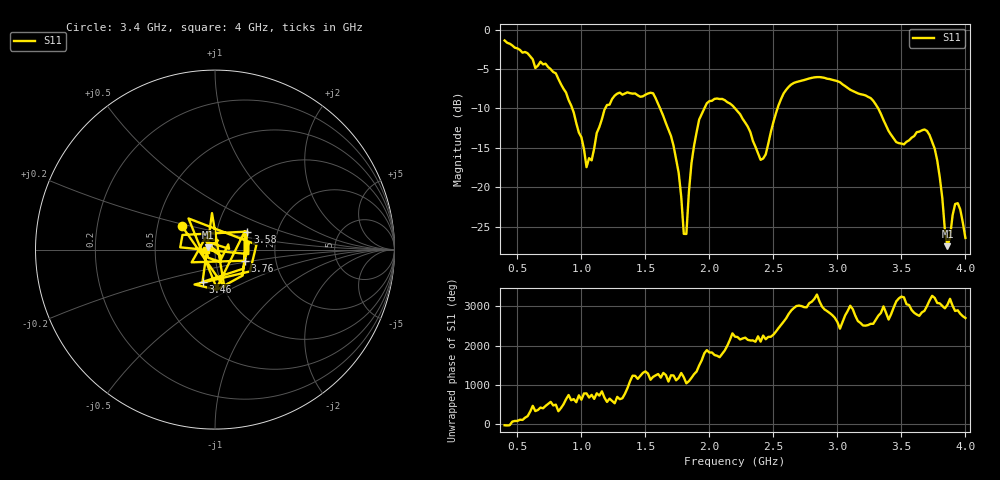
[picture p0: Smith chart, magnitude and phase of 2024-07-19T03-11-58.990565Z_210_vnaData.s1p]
!Created with skrf (http://scikit-rf.org).
# Hz S RI R 50.0
!freq ReS11 ImS11
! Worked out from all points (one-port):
!   181 points, 400 MHz to 4 GHz, reference 50 ohm
!   lowest |S11| = -27.5 dB at 3.86 GHz (marker M1), VSWR 1.09, Z = 46.1 + j1.14 ohm
!   |S11| at or under -10 dB: 1.615 GHz to 1.96 GHz (345.5 MHz wide, 19.3 % of centre); 2.201 GHz to 2.532 GHz (330.8 MHz wide, 14 % of centre); 3.319 GHz to end of sweep (the widest 3 of 4)
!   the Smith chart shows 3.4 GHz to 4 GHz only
!   S11 on the Smith chart (normalised r, x): 3.4 GHz: 0.67, +0.19; 3.46 GHz: 0.82, -0.31; 3.58 GHz: 1.40, +0.29; 3.76 GHz: 1.38, -0.18; 4 GHz: 0.91, -0.01
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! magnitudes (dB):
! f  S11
! 400 MHz  -1.4
! 860 MHz  -7.5
! 1.04 GHz  -17.4
! 1.18 GHz  -10.2
! 1.3 GHz  -8.0
! 1.56 GHz  -8.1
! 1.7 GHz  -13.5
! 1.76 GHz  -18.2
! 1.8 GHz  -25.9
! 1.82 GHz  -25.9
! 1.86 GHz  -16.9
! 1.92 GHz  -11.4
! 2.04 GHz  -8.8
! 2.2 GHz  -10.0
! 2.4 GHz  -16.5
! 2.56 GHz  -8.8
! 2.66 GHz  -6.8
! 3.1 GHz  -7.6
! 3.28 GHz  -9.0
! 3.4 GHz  -12.9
! 3.46 GHz  -14.3
! 3.56 GHz  -14.0
! 3.58 GHz  -13.7
! 3.68 GHz  -12.7
! 3.76 GHz  -15.1
! 3.86 GHz  -27.5
! 3.92 GHz  -22.1
! 4 GHz  -26.4
